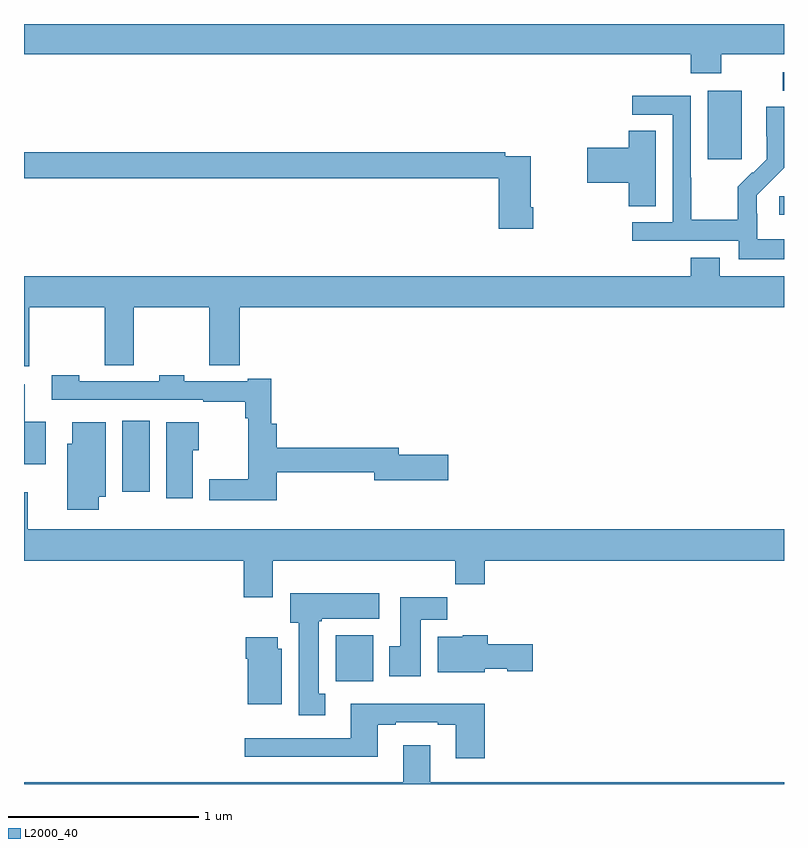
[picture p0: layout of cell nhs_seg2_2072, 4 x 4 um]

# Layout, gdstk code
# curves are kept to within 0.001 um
import gdstk
lib = gdstk.Library(unit=1e-6, precision=1e-09)
def R(c, l, rs):  # rectangles x0, y0, x1, y1
    for r in rs: c.add(gdstk.rectangle(r[:2], r[2:], *l))
def P(c, l, *ps):  # polygons
    for p in ps: c.add(gdstk.Polygon(p, *l))
L2000_40 = (2000, 40)

nhs_seg2_2072 = lib.new_cell('nhs_seg2_2072')
R(nhs_seg2_2072, L2000_40, [(220.64,640.34,220.837,640.582), (219.518,641.337,219.661,641.713), (222.975,642.797,223,642.894), (222.599,643.089,222.778,643.45), (222.993,643.449,223,643.545)])
P(nhs_seg2_2072, L2000_40, [(222.669,643.64),(223,643.64),(223,643.8),(219,643.8),(219,643.64),(222.509,643.64),(222.509,643.541),(222.669,643.541)],
  [(223,642.667),(222.858,642.667),(222.858,642.801),(222.856,642.801),(222.856,642.898),(223,643.044),(223,643.364),(222.906,643.364),(222.906,643.21),(222.908,643.21),(222.908,643.088),(222.837,643.017),(222.834,643.02),(222.757,642.943),(222.757,642.769),(222.513,642.769),(222.513,642.992),(222.51,642.992),(222.51,643.422),(222.201,643.422),(222.201,643.323),(222.414,643.323),(222.414,642.756),(222.201,642.756),(222.201,642.66),(222.762,642.66),(222.762,642.563),(223,642.563)],
  [(222.325,643.238),(222.182,643.238),(222.182,643.148),(221.964,643.148),(221.964,642.965),(222.182,642.965),(222.182,642.841),(222.325,642.841)],
  [(221.681,642.835),(221.668,642.835),(221.668,643.104),(221.534,643.104),(221.534,643.124),(219,643.124),(219,642.988),(221.498,642.988),(221.498,642.723),(221.681,642.723)],
  [(219.027,642.308),(219.424,642.308),(219.424,642.004),(219.578,642.004),(219.578,642.308),(219.976,642.308),(219.976,642.004),(220.136,642.004),(220.136,642.308),(223,642.308),(223,642.472),(222.661,642.472),(222.661,642.571),(222.509,642.571),(222.509,642.472),(219,642.472),(219,642),(219.027,642)],
  [(220.331,641.442),(220.844,641.442),(220.844,641.399),(221.233,641.399),(221.233,641.534),(220.972,641.534),(220.972,641.57),(220.331,641.57),(220.331,641.695),(220.301,641.695),(220.301,641.932),(220.178,641.932),(220.178,641.919),(219.843,641.919),(219.843,641.952),(219.711,641.952),(219.711,641.919),(219.291,641.919),(219.291,641.952),(219.147,641.952),(219.147,641.823),(219.943,641.823),(219.943,641.811),(220.165,641.811),(220.165,641.726),(220.18,641.726),(220.18,641.404),(219.975,641.404),(219.975,641.294),(220.331,641.294)],
  [(219.115,641.707),(219.004,641.707),(219.004,641.905),(219,641.905),(219,641.483),(219.115,641.483)],
  [(219.889,641.557),(219.919,641.557),(219.919,641.704),(219.749,641.704),(219.749,641.304),(219.889,641.304)],
  [(219.393,641.312),(219.43,641.312),(219.43,641.704),(219.254,641.704),(219.254,641.592),(219.227,641.592),(219.227,641.244),(219.393,641.244)],
  [(220.309,640.976),(221.269,640.976),(221.269,640.852),(221.426,640.852),(221.426,640.976),(223,640.976),(223,641.14),(219.019,641.14),(219.019,641.335),(219,641.335),(219,640.976),(220.157,640.976),(220.157,640.782),(220.309,640.782)],
  [(220.585,640.274),(220.552,640.274),(220.552,640.657),(220.566,640.657),(220.566,640.67),(220.87,640.67),(220.87,640.804),(220.4,640.804),(220.4,640.65),(220.445,640.65),(220.445,640.161),(220.585,640.161)],
  [(221.089,640.664),(221.228,640.664),(221.228,640.783),(220.979,640.783),(220.979,640.524),(220.922,640.524),(220.922,640.368),(221.089,640.368)],
  [(221.424,640.406),(221.544,640.406),(221.544,640.394),(221.677,640.394),(221.677,640.536),(221.441,640.536),(221.441,640.582),(221.31,640.582),(221.31,640.576),(221.177,640.576),(221.177,640.388),(221.424,640.388)],
  [(220.357,640.512),(220.336,640.512),(220.336,640.573),(220.166,640.573),(220.166,640.46),(220.178,640.46),(220.178,640.22),(220.357,640.22)],
  [(221.426,640.222),(220.721,640.222),(220.721,640.041),(220.161,640.041),(220.161,639.944),(220.861,639.944),(220.861,640.113),(220.957,640.113),(220.957,640.125),(221.177,640.125),(221.177,640.113),(221.273,640.113),(221.273,639.936),(221.426,639.936)],
  [(221.137,640.003),(220.997,640.003),(220.997,639.808),(219,639.808),(219,639.8),(223,639.8),(223,639.808),(221.137,639.808)])

lib.write_gds('nhs_seg2_2072.gds')
